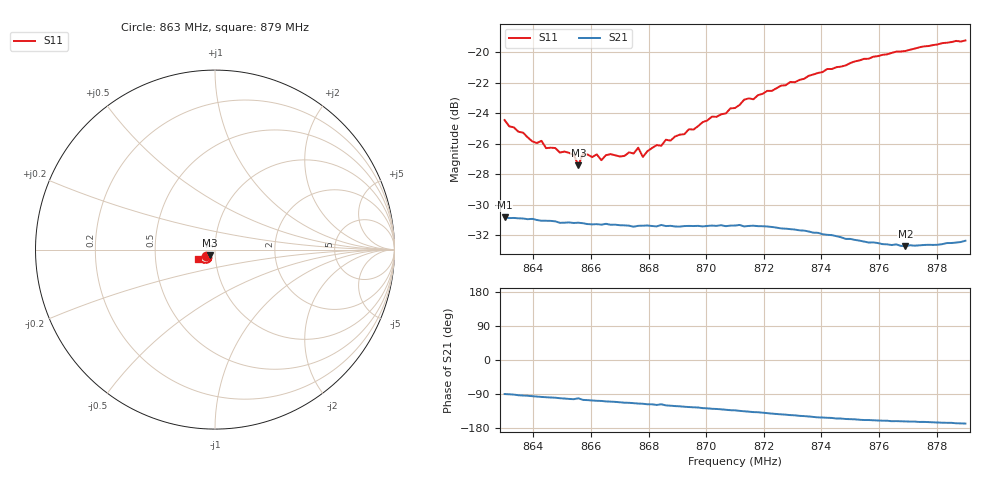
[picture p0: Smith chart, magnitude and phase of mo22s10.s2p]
# HZ S RI R 50
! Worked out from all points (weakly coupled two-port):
!   101 points, 863 MHz to 879 MHz, reference 50 ohm
!   highest |S21| = -30.81 dB at 863 MHz (marker M1); lowest = -32.7 dB at 876.92 MHz (marker M2)
!   lowest |S11| = -27.4 dB at 865.56 MHz (marker M3), VSWR 1.09, Z = 47.1 - j2.98 ohm
!   |S11| at or under -10 dB: start of sweep to end of sweep
!   S12 and S22 are empty: the file has one direction only
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8.63e8  -0.049 -0.0346  5.6e-05 -0.0288  0 0  0 0
8.6396e8  -0.0407 -0.0308  -0.00271 -0.0283  0 0  0 0
8.6428e8  -0.0389 -0.0333  -0.00364 -0.0278  0 0  0 0
8.6444e8  -0.0373 -0.031  -0.004 -0.0277  0 0  0 0
8.654e8  -0.0321 -0.0331  -0.0064 -0.0268  0 0  0 0
8.6556e8  -0.0286 -0.0316  -0.00529 -0.0271  0 0  0 0
8.6572e8  -0.0311 -0.0345  -0.00723 -0.0266  0 0  0 0
8.662e8  -0.0293 -0.0358  -0.00829 -0.026  0 0  0 0
8.6636e8  -0.0267 -0.0353  -0.00843 -0.0259  0 0  0 0
8.6668e8  -0.0268 -0.0379  -0.00922 -0.0256  0 0  0 0
8.6748e8  -0.0239 -0.04  -0.0109 -0.0245  0 0  0 0
8.6764e8  -0.0235 -0.0426  -0.0114 -0.0245  0 0  0 0
8.678e8  -0.0206 -0.0404  -0.0116 -0.0244  0 0  0 0
8.6828e8  -0.0215 -0.0447  -0.0129 -0.0236  0 0  0 0
8.6844e8  -0.0201 -0.0451  -0.0123 -0.0242  0 0  0 0
8.686e8  -0.0209 -0.0473  -0.0134 -0.0234  0 0  0 0
8.71e8  -0.0242 -0.061  -0.0184 -0.0198  0 0  0 0
8.7132e8  -0.0277 -0.0643  -0.0191 -0.0189  0 0  0 0
8.7372e8  -0.0438 -0.0724  -0.0222 -0.0127  0 0  0 0
8.7644e8  -0.0709 -0.0699  -0.0221 -0.00739  0 0  0 0
8.7692e8  -0.0753 -0.0673  -0.022 -0.00713  0 0  0 0
8.79e8  -0.0952 -0.0539  -0.0236 -0.00513  0 0  0 0
